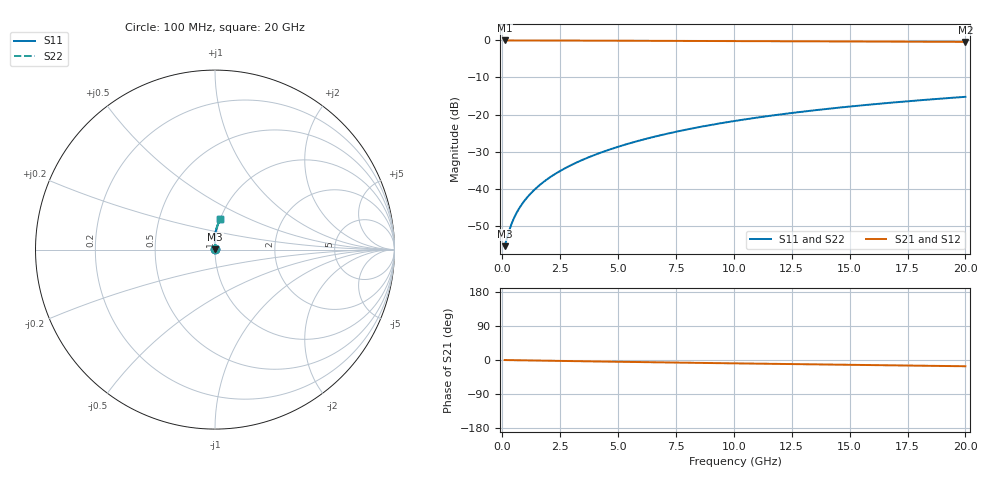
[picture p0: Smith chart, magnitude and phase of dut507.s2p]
! Touchstone file exported from HFSS 2024.1.0
!  File:  C:/UserFiles/LocalFiles/RDL_TSV_Batchsim/temp_RDL_top_507_1779679322.aedt
!  Generated:  11:24:21 AM May 25, 2026
!  Design:  RDL_top
!  Project:  temp_RDL_top_507_1779679322
!  Setup:  Setup1
!  Solution:  Sweep
! Variables:
!  dtsv = 10.80580581um
!  hbump = 3um
!  htsv = 86.64um
!  ldown = 100um
!  lrdl = 194.39um
!  p = 40
!  p1 = 55.8um
!  rhole = 1um
!  t = 450um
!  tdown = 3.915915916um
!  trdl = 2.23um
!  wdown = 15.38538539um
!  wrdl = 29.12um
# GHz S MA R 50.000000
! Terminal data exported
! Port[1] = Box2_T1
! Port[2] = Box2_T2
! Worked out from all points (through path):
!   200 points, 100 MHz to 20 GHz, reference 50 ohm
!   highest |S21| = -0.01 dB at 100 MHz (marker M1); lowest = -0.4 dB at 20 GHz (marker M2)
!   group delay of S21, straight-line fit = 2.26 ps
!   lowest |S11| = -55.5 dB at 100 MHz (marker M3), VSWR 1.00, Z = 50.1 + j0.0767 ohm
!   |S11| at or under -10 dB: start of sweep to end of sweep
!   |S22| runs from -55.5 to -15.2 dB; largest |S21 - S12| = 3.6e-15
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0.1  0.001676 27.1  0.9985 -0.1  0.9985 -0.1  0.001676 27.1
! Gamma 0 0 0 0
! Port Impedance 50 0 50 0
0.3  0.002738 54.6  0.9984 -0.3  0.9984 -0.3  0.002738 54.6
0.4  0.003356 60.8  0.9983 -0.4  0.9983 -0.4  0.003356 60.8
0.5  0.003981 65.1  0.9982 -0.5  0.9982 -0.5  0.003981 65.1
0.6  0.004607 68.3  0.9981 -0.6  0.9981 -0.6  0.004607 68.3
0.8  0.005868 73.0  0.9979 -0.8  0.9979 -0.8  0.005868 73.0
1  0.007144 76.3  0.9977 -1.0  0.9977 -1.0  0.007144 76.3
1.2  0.00844 78.7  0.9975 -1.2  0.9975 -1.2  0.00844 78.7
1.7  0.01177 83.0  0.997 -1.7  0.997 -1.7  0.01177 83.0
2.2  0.01521 85.7  0.9963 -2.1  0.9963 -2.1  0.01521 85.8
2.8  0.01951 88.0  0.9954 -2.7  0.9954 -2.7  0.01951 88.0
3.5  0.02474 89.7  0.994 -3.3  0.994 -3.3  0.02474 89.7
4.2  0.03021 90.8  0.9925 -4.0  0.9925 -4.0  0.03021 90.8
5  0.03673 91.5  0.9907 -4.7  0.9907 -4.7  0.03673 91.5
5.9  0.04436 91.8  0.9885 -5.5  0.9885 -5.5  0.04436 91.8
6.8  0.05226 91.8  0.9863 -6.2  0.9863 -6.2  0.05226 91.8
8.4  0.06675 91.0  0.9823 -7.5  0.9823 -7.5  0.06675 91.0
10.1  0.08251 89.7  0.9782 -8.9  0.9782 -8.9  0.08251 89.7
11.7  0.09747 88.2  0.9745 -10.2  0.9745 -10.2  0.09747 88.2
13.4  0.1133 86.6  0.9706 -11.5  0.9706 -11.5  0.1133 86.6
16.7  0.1437 83.3  0.9633 -14.0  0.9633 -14.0  0.1437 83.3
20  0.1733 80.1  0.9559 -16.5  0.9559 -16.5  0.1733 80.1
